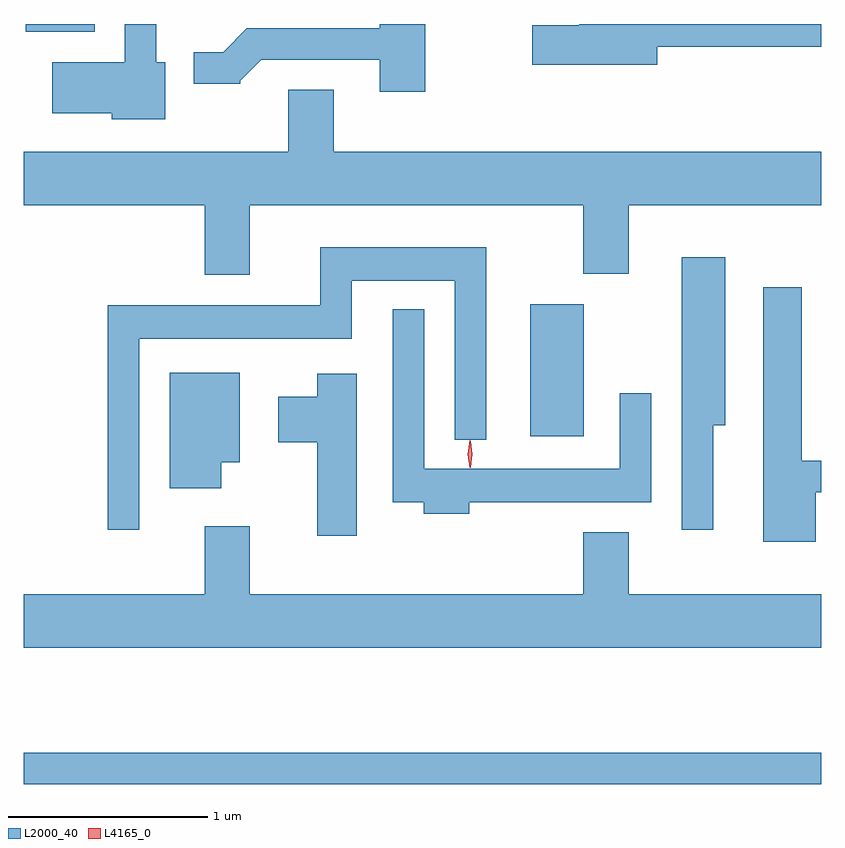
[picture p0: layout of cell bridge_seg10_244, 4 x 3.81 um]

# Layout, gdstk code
import gdstk
lib = gdstk.Library(unit=1e-6, precision=1e-09)
def R(c, l, rs):  # rectangles x0, y0, x1, y1
    for r in rs: c.add(gdstk.rectangle(r[:2], r[2:], *l))
def P(c, l, *ps):  # polygons
    for p in ps: c.add(gdstk.Polygon(p, *l))
L2000_40 = (2000, 40)
L4165_0 = (4165, 0)

bridge_seg10_244 = lib.new_cell('bridge_seg10_244')
R(bridge_seg10_244, L2000_40, [(1718.985,2088.811,1722.985,2088.969), (1721.526,2090.556,1721.794,2091.219), (1718.993,2092.586,1719.339,2092.625)])
P(bridge_seg10_244, L2000_40, [(1719.694,2092.434),(1719.649,2092.434),(1719.649,2092.625),(1719.491,2092.625),(1719.491,2092.434),(1719.126,2092.434),(1719.126,2092.176),(1719.426,2092.176),(1719.426,2092.146),(1719.694,2092.146)],
  [(1722.164,2092.511),(1722.985,2092.511),(1722.985,2092.625),(1721.771,2092.625),(1721.771,2092.619),(1721.536,2092.619),(1721.536,2092.421),(1722.164,2092.421)],
  [(1720.999,2092.625),(1720.771,2092.625),(1720.771,2092.604),(1720.104,2092.604),(1719.984,2092.484),(1719.838,2092.484),(1719.838,2092.326),(1720.07,2092.326),(1720.07,2092.34),(1720.177,2092.446),(1720.771,2092.446),(1720.771,2092.286),(1720.999,2092.286)],
  [(1720.119,2091.716),(1721.791,2091.716),(1721.791,2091.371),(1722.019,2091.371),(1722.019,2091.716),(1722.985,2091.716),(1722.985,2091.984),(1720.539,2091.984),(1720.539,2092.294),(1720.311,2092.294),(1720.311,2091.984),(1718.985,2091.984),(1718.985,2091.716),(1719.891,2091.716),(1719.891,2091.366),(1720.119,2091.366)],
  [(1719.564,2091.046),(1720.629,2091.046),(1720.629,2091.336),(1721.146,2091.336),(1721.146,2090.538),(1721.304,2090.538),(1721.304,2091.504),(1720.471,2091.504),(1720.471,2091.214),(1719.406,2091.214),(1719.406,2090.088),(1719.564,2090.088)],
  [(1722.444,2090.611),(1722.504,2090.611),(1722.504,2091.454),(1722.286,2091.454),(1722.286,2090.088),(1722.444,2090.088)],
  [(1722.959,2090.276),(1722.985,2090.276),(1722.985,2090.434),(1722.889,2090.434),(1722.889,2091.304),(1722.696,2091.304),(1722.696,2090.026),(1722.959,2090.026)],
  [(1721.219,2090.226),(1722.134,2090.226),(1722.134,2090.773),(1721.976,2090.773),(1721.976,2090.394),(1720.994,2090.394),(1720.994,2091.193),(1720.836,2091.193),(1720.836,2090.226),(1720.991,2090.226),(1720.991,2090.166),(1721.219,2090.166)],
  [(1719.974,2090.426),(1720.069,2090.426),(1720.069,2090.874),(1719.716,2090.874),(1719.716,2090.296),(1719.974,2090.296)],
  [(1720.654,2090.869),(1720.456,2090.869),(1720.456,2090.754),(1720.261,2090.754),(1720.261,2090.526),(1720.456,2090.526),(1720.456,2090.056),(1720.654,2090.056)],
  [(1722.985,2089.764),(1722.019,2089.764),(1722.019,2090.074),(1721.791,2090.074),(1721.791,2089.764),(1720.119,2089.764),(1720.119,2090.104),(1719.891,2090.104),(1719.891,2089.764),(1718.985,2089.764),(1718.985,2089.496),(1722.985,2089.496)])
P(bridge_seg10_244, L4165_0, [(1721.222,2090.397),(1721.213,2090.467),(1721.222,2090.536),(1721.223,2090.536),(1721.223,2090.536),(1721.233,2090.467),(1721.223,2090.397),(1721.223,2090.397)],
  [(1721.225,2090.399),(1721.225,2090.4),(1721.215,2090.466),(1721.225,2090.532),(1721.225,2090.533),(1721.226,2090.532),(1721.235,2090.466),(1721.226,2090.4)])

lib.write_gds('bridge_seg10_244.gds')
